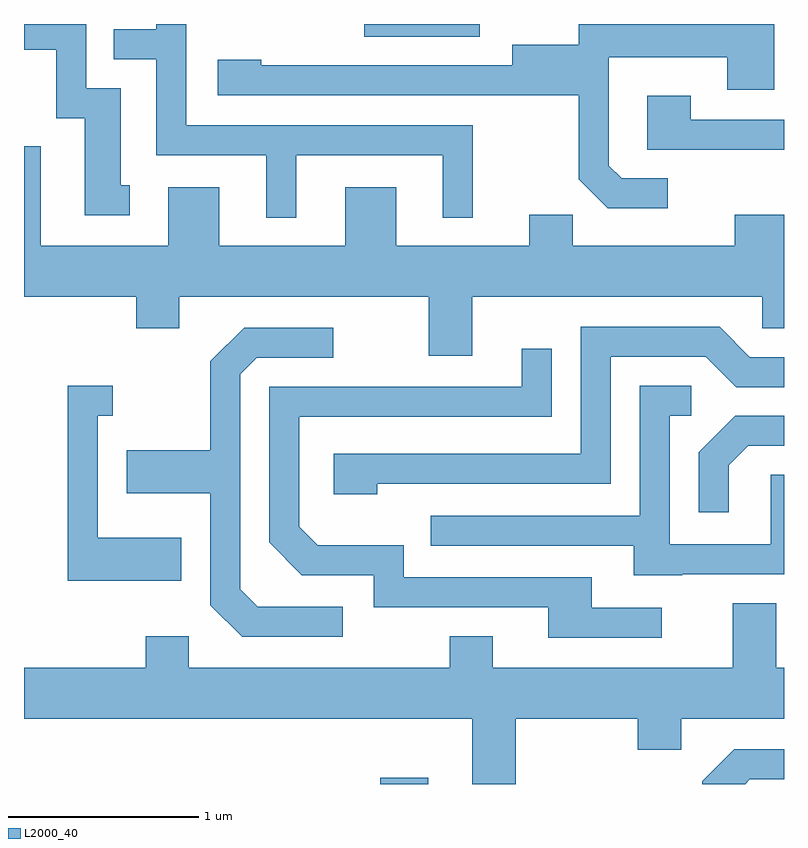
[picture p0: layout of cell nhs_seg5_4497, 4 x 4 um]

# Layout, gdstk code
import gdstk
lib = gdstk.Library(unit=1e-6, precision=1e-09)
def R(c, l, rs):  # rectangles x0, y0, x1, y1
    for r in rs: c.add(gdstk.rectangle(r[:2], r[2:], *l))
def P(c, l, *ps):  # polygons
    for p in ps: c.add(gdstk.Polygon(p, *l))
L2000_40 = (2000, 40)

nhs_seg5_4497 = lib.new_cell('nhs_seg5_4497')
R(nhs_seg5_4497, L2000_40, [(321.486,1392.072,321.739,1392.104), (321.403,1396.006,322.009,1396.072)])
P(nhs_seg5_4497, L2000_40, [(321.044,1395.381),(321.816,1395.381),(321.816,1395.053),(321.974,1395.053),(321.974,1395.539),(320.464,1395.539),(320.464,1396.072),(320.306,1396.072),(320.306,1396.044),(320.083,1396.044),(320.083,1395.886),(320.306,1395.886),(320.306,1395.381),(320.886,1395.381),(320.886,1395.053),(321.044,1395.053)],
  [(320.168,1395.224),(320.119,1395.224),(320.119,1395.734),(319.939,1395.734),(319.939,1396.072),(319.611,1396.072),(319.611,1395.936),(319.781,1395.936),(319.781,1395.576),(319.931,1395.576),(319.931,1395.066),(320.168,1395.066)],
  [(322.998,1395.259),(322.757,1395.259),(322.689,1395.327),(322.689,1395.896),(323.311,1395.896),(323.311,1395.726),(323.559,1395.726),(323.559,1396.072),(322.531,1396.072),(322.531,1395.964),(322.181,1395.964),(322.181,1395.854),(320.859,1395.854),(320.859,1395.884),(320.631,1395.884),(320.631,1395.696),(322.531,1395.696),(322.531,1395.254),(322.684,1395.101),(322.998,1395.101)],
  [(323.611,1395.569),(323.119,1395.569),(323.119,1395.694),(322.891,1395.694),(322.891,1395.411),(323.611,1395.411)],
  [(321.969,1394.636),(323.496,1394.636),(323.496,1394.471),(323.611,1394.471),(323.611,1395.069),(323.351,1395.069),(323.351,1394.904),(322.499,1394.904),(322.499,1395.069),(322.271,1395.069),(322.271,1394.904),(321.569,1394.904),(321.569,1395.214),(321.301,1395.214),(321.301,1394.904),(320.639,1394.904),(320.639,1395.214),(320.371,1395.214),(320.371,1394.904),(319.699,1394.904),(319.699,1395.429),(319.611,1395.429),(319.611,1394.636),(320.201,1394.636),(320.201,1394.471),(320.429,1394.471),(320.429,1394.636),(321.741,1394.636),(321.741,1394.326),(321.969,1394.326)],
  [(321.469,1393.651),(322.699,1393.651),(322.699,1394.321),(323.199,1394.321),(323.359,1394.161),(323.611,1394.161),(323.611,1394.319),(323.432,1394.319),(323.272,1394.479),(322.541,1394.479),(322.541,1393.809),(321.241,1393.809),(321.241,1393.596),(321.469,1393.596)],
  [(321.288,1393.004),(320.842,1393.004),(320.749,1393.097),(320.749,1394.229),(320.837,1394.316),(321.238,1394.316),(321.238,1394.474),(320.769,1394.474),(320.591,1394.297),(320.591,1393.829),(320.151,1393.829),(320.151,1393.601),(320.591,1393.601),(320.591,1393.014),(320.759,1392.846),(321.288,1392.846)],
  [(322.968,1392.999),(322.599,1392.999),(322.599,1393.159),(321.609,1393.159),(321.609,1393.329),(321.157,1393.329),(321.059,1393.427),(321.059,1394.006),(322.389,1394.006),(322.389,1394.363),(322.231,1394.363),(322.231,1394.164),(320.901,1394.164),(320.901,1393.344),(321.074,1393.171),(321.451,1393.171),(321.451,1393.001),(322.371,1393.001),(322.371,1392.841),(322.968,1392.841)],
  [(320.439,1393.369),(319.999,1393.369),(319.999,1394.011),(320.078,1394.011),(320.078,1394.169),(319.841,1394.169),(319.841,1393.141),(320.439,1393.141)],
  [(323.075,1393.176),(323.611,1393.176),(323.611,1393.699),(323.541,1393.699),(323.541,1393.334),(323.009,1393.334),(323.009,1394.011),(323.123,1394.011),(323.123,1394.169),(322.851,1394.169),(322.851,1393.484),(321.753,1393.484),(321.753,1393.326),(322.821,1393.326),(322.821,1393.171),(323.075,1393.171)],
  [(323.319,1393.749),(323.422,1393.851),(323.611,1393.851),(323.611,1394.009),(323.354,1394.009),(323.161,1393.817),(323.161,1393.503),(323.319,1393.503)],
  [(322.199,1392.416),(322.841,1392.416),(322.841,1392.251),(323.069,1392.251),(323.069,1392.416),(323.611,1392.416),(323.611,1392.684),(323.569,1392.684),(323.569,1393.024),(323.341,1393.024),(323.341,1392.684),(322.079,1392.684),(322.079,1392.849),(321.851,1392.849),(321.851,1392.684),(320.479,1392.684),(320.479,1392.849),(320.251,1392.849),(320.251,1392.684),(319.611,1392.684),(319.611,1392.416),(321.971,1392.416),(321.971,1392.072),(322.199,1392.072)],
  [(323.432,1392.096),(323.611,1392.096),(323.611,1392.254),(323.349,1392.254),(323.181,1392.087),(323.181,1392.072),(323.408,1392.072)])

lib.write_gds('nhs_seg5_4497.gds')
